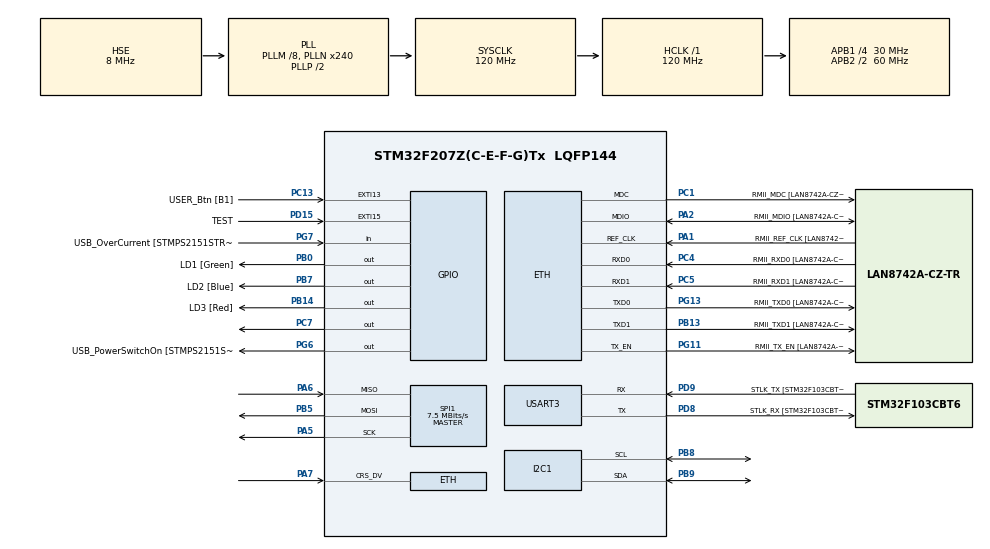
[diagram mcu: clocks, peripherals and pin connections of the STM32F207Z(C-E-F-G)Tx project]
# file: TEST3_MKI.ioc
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Mcu.Family=STM32F2
LWIP.LWIP_MULTICAST_TX_OPTIONS=1
PA6.Mode=Full_Duplex_Master
PH0-OSC_IN.Signal=RCC_OSC_IN
RCC.CortexFreq_Value=120000000
PG6.Signal=GPIO_Output
SPI1.VirtualType=VM_MASTER
LWIP.LWIP_ARP=1
PB14.GPIO_Label=LD3 [Red]
PG6.GPIO_Label=USB_PowerSwitchOn [STMPS2151STR_EN]
PA14.GPIO_Label=TCK
RCC.SYSCLKSourceVirtual=RCC_SYSCLKSOURCE_PLLCLK
PB0.GPIO_Label=LD1 [Green]
PC5.Mode=RMII
PC13.GPIO_Label=USER_Btn [B1]
PB13.GPIO_Label=RMII_TXD1 [LAN8742A-CZ-TR_TXD1]
PB13.Signal=ETH_TXD1
PG13.Signal=ETH_TXD0
PD9.Mode=Asynchronous
PG11.Signal=ETH_TX_EN
RCC.SYSCLKSource=RCC_SYSCLKSOURCE_PLLCLK
ProjectManager.StackSize=0x400
LWIP.NETMASK_ADDRESS=255.255.255.000
PA12.Signal=USB_OTG_FS_DP
SPI1.CLKPolarity=SPI_POLARITY_HIGH
SPI1.Direction=SPI_DIRECTION_2LINES
RCC.HCLKFreq_Value=120000000
RCC.APB2TimFreq_Value=120000000
LWIP.LWIP_IGMP=1
PC7.Signal=GPIO_Output
SPI1.CalculateBaudRate=7.5 MBits/s
PD8.Signal=USART3_TX
RCC.AHBFreq_Value=120000000
PH0-OSC_IN.Mode=HSE-External-Clock-Source
PH0-OSC_IN.GPIO_Label=MCO [STM32F103CBT6_PA8]
NVIC.EXTI15_10_IRQn=true\:0\:0\:false\:false\:true\:true\:true
RCC.HSE_VALUE=8000000
RCC.PLLMUL=RCC_PLL_MUL9
LWIP.LWIP_TCP=0
PC4.GPIO_Label=RMII_RXD0 [LAN8742A-CZ-TR_RXD0]
PB5.Mode=Full_Duplex_Master
PA10.GPIO_Label=USB_ID
PB7.Signal=GPIO_Output
PA8.Signal=USB_OTG_FS_SOF
PG13.Mode=RMII
PH1-OSC_OUT.Mode=HSE-External-Clock-Source
PB7.GPIO_Label=LD2 [Blue]
Mcu.Package=LQFP144
PB9.Signal=I2C1_SDA
PA6.Signal=SPI1_MISO
PA2.GPIO_Label=RMII_MDIO [LAN8742A-CZ-TR_MDIO]
PA10.Signal=USB_OTG_FS_ID
RCC.APB2CLKDivider=RCC_HCLK_DIV2
RCC.APB1TimFreq_Value=60000000
PG11.GPIO_Label=RMII_TX_EN [LAN8742A-CZ-TR_TXEN]
PC5.Signal=ETH_RXD1
PB13.Mode=RMII
SPI1.BaudRatePrescaler=SPI_BAUDRATEPRESCALER_8
PD15.Signal=GPXTI15
PC4.Mode=RMII
LWIP.IP_ADDRESS=192.168.000.002
PA5.Mode=Full_Duplex_Master
PB3.GPIO_Label=SWO
ETH.AutoNegotiation=ETH_AUTONEGOTIATION_DISABLE
RCC.PLLSourceVirtual=RCC_PLLSOURCE_HSE
PD15.GPIO_Label=TEST
PA7.Mode=RMII
PG7.Signal=GPIO_Input
PD9.GPIO_Label=STLK_TX [STM32F103CBT6_PA2]
PC13.Signal=GPXTI13
PA9.GPIO_Label=USB_VBUS
PC4.Signal=ETH_RXD0
PA11.GPIO_Label=USB_DM
PD9.Signal=USART3_RX
SPI1.CLKPhase=SPI_PHASE_2EDGE
LWIP.LWIP_DHCP=0
PD15.GPIO_ModeDefaultEXTI=GPIO_MODE_IT_RISING
RCC.APB1CLKDivider=RCC_HCLK_DIV4
PC14-OSC32_IN.Signal=RCC_OSC32_IN
PG13.GPIO_Label=RMII_TXD0 [LAN8742A-CZ-TR_TXD0]
PA12.GPIO_Label=USB_DP
VP_LWIP_VS_Enabled.Mode=Enabled
LWIP.GATEWAY_ADDRESS=000.000.000.000
LWIP.LWIP_DNS=0
PD8.GPIO_Label=STLK_RX [STM32F103CBT6_PA3]
PA13.Signal=SYS_JTMS-SWDIO
LWIP.CHECKSUM_GEN_UDP=0
PA8.GPIO_Label=USB_SOF [TP1]
ProjectManager.TargetToolchain=STM32CubeIDE
LWIP.LWIP_SNTP=0
PB9.Mode=I2C
PA9.Signal=USB_OTG_FS_VBUS
RCC.USBFreq_Value=48000000
RCC.LSE_VALUE=32768
PC15-OSC32_OUT.Signal=RCC_OSC32_OUT
PD8.Mode=Asynchronous
PA1.Signal=ETH_REF_CLK
PB14.Signal=GPIO_Output
PA5.Signal=SPI1_SCK
board=NUCLEO-F207ZG
RCC.VCOOutputFreq_Value=240000000
RCC.APB2Freq_Value=60000000
PA1.Mode=RMII
RCC.PRESCALERUSB=RCC_USBCLKSOURCE_PLL_DIV1_5
SPI1.Mode=SPI_MODE_MASTER
PG7.GPIO_Label=USB_OverCurrent [STMPS2151STR_FAULT]
PA1.GPIO_Label=RMII_REF_CLK [LAN8742A-CZ-TR_REFCLK0]
PC1.GPIO_Label=RMII_MDC [LAN8742A-CZ-TR_MDC]
PH1-OSC_OUT.Signal=RCC_OSC_OUT
Mcu.Name=STM32F207Z(C-E-F-G)Tx
PA2.Signal=ETH_MDIO
PA13.GPIO_Label=TMS
RCC.48MHZClocksFreq_Value=60000000
PB3.Signal=SYS_JTDO-SWO
RCC.SYSCLKFreq_VALUE=120000000
PB5.Signal=SPI1_MOSI
ETH.MediaInterface=ETH_MEDIA_INTERFACE_RMII
LWIP.LWIP_NETIF_STATUS_CALLBACK=1
PC5.GPIO_Label=RMII_RXD1 [LAN8742A-CZ-TR_RXD1]
USART3.VirtualMode=VM_ASYNC
PG11.Mode=RMII
PA11.Signal=USB_OTG_FS_DM
PA14.Signal=SYS_JTCK-SWCLK
ProjectManager.HeapSize=0x200
LWIP.Version=v2.0.3_Cube
RCC.HSI_VALUE=16000000
NVIC.PriorityGroup=NVIC_PRIORITYGROUP_4
RCC.PLLM=8
PB8.Mode=I2C
RCC.PLLN=240
PA2.Mode=RMII
PB8.Signal=I2C1_SCL
RCC.APB1Freq_Value=30000000
PB0.Signal=GPIO_Output
PC1.Signal=ETH_MDC
PC1.Mode=RMII
PA7.Signal=ETH_CRS_DV

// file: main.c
/* USER CODE BEGIN Header */
/**
  ******************************************************************************
  * @file           : main.c
  * @brief          : Main program body
  ******************************************************************************
  * @attention
  *
  * <h2><center>&copy; Copyright (c) 2021 STMicroelectronics.
  * All rights reserved.</center></h2>
  *
  * This software component is licensed by ST under BSD 3-Clause license,
  * the "License"; You may not use this file except in compliance with the
  * License. You may obtain a copy of the License at:
  *                        opensource.org/licenses/BSD-3-Clause
  *
  ******************************************************************************
  */
/* USER CODE END Header */
#include "main.h"
#include "lwip.h"

/* USER CODE BEGIN Includes */
#include "lwip/opt.h"
#include "lwip/init.h"
#include "lwip/netif.h"
#include "lwip/timeouts.h"
#include "netif/etharp.h"
#include "ethernetif.h"
#include "udp_echoclient.h"
#include "lwip/pbuf.h"
#include "lwip/udp.h"
#include "lwip/tcp.h"
#include <string.h>
#include <stdio.h>
/* USER CODE END Includes */

/* USER CODE BEGIN PD */
#ifdef __GNUC__
/* With GCC Compiler, small printf (option LD Linker->Libraries->Small printf
   set to 'Yes') calls __io_putchar() */
#define PUTCHAR_PROTOTYPE int __io_putchar(int ch)
#else
#define PUTCHAR_PROTOTYPE int fputc(int ch, FILE *f)
#endif /* __GNUC__ */
/* USER CODE END PD */

I2C_HandleTypeDef hi2c1;

SPI_HandleTypeDef hspi1;

UART_HandleTypeDef huart3;

void SystemClock_Config(void);
static void MX_GPIO_Init(void);
static void MX_SPI1_Init(void);
static void MX_USART3_UART_Init(void);
static void MX_I2C1_Init(void);

int main(void)
{

  /* MCU Configuration--------------------------------------------------------*/

  /* Reset of all peripherals, Initializes the Flash interface and the Systick. */
  HAL_Init();

  /* Configure the system clock */
  SystemClock_Config();

  /* Initialize all configured peripherals */
  MX_GPIO_Init();
  MX_SPI1_Init();
  MX_USART3_UART_Init();
  MX_I2C1_Init();
  MX_LWIP_Init();
  /* USER CODE BEGIN 2 */
  TestBegin_I2C();
  udp_echoclient_connect();
  //Set_CS_High();
  HAL_Delay(2000);
  TestId_I2C();
  Ctrl1_I2C(ODR104HZ1G);
  HAL_Delay(1000);
  //IntMode_SPI(INT1_CTRL,DENRDYMODE);
  //IntCFGMode_SPI(COUNTER_BDR_REG1,MOTIONMODE);
  //HAL_Delay(1000);
  printf("------------------------------\r\n");

  /* USER CODE END 2 */

  /* Infinite loop */
  /* USER CODE BEGIN WHILE */
  while (1)
  {

	MX_LWIP_Process();
	udp_echoclient_send();

	HAL_Delay(1000);

    /* USER CODE END WHILE */

  }
}

void SystemClock_Config(void)
{
  RCC_OscInitTypeDef RCC_OscInitStruct = {0};
  RCC_ClkInitTypeDef RCC_ClkInitStruct = {0};

  /** Initializes the RCC Oscillators according to the specified parameters
  * in the RCC_OscInitTypeDef structure.
  */
  RCC_OscInitStruct.OscillatorType = RCC_OSCILLATORTYPE_HSE;
  RCC_OscInitStruct.HSEState = RCC_HSE_BYPASS;
  RCC_OscInitStruct.PLL.PLLState = RCC_PLL_ON;
  RCC_OscInitStruct.PLL.PLLSource = RCC_PLLSOURCE_HSE;
  RCC_OscInitStruct.PLL.PLLM = 8;
  RCC_OscInitStruct.PLL.PLLN = 240;
  RCC_OscInitStruct.PLL.PLLP = RCC_PLLP_DIV2;
  RCC_OscInitStruct.PLL.PLLQ = 4;
  if (HAL_RCC_OscConfig(&RCC_OscInitStruct) != HAL_OK)
  {
    Error_Handler();
  }
  /** Initializes the CPU, AHB and APB buses clocks
  */
  RCC_ClkInitStruct.ClockType = RCC_CLOCKTYPE_HCLK|RCC_CLOCKTYPE_SYSCLK
                              |RCC_CLOCKTYPE_PCLK1|RCC_CLOCKTYPE_PCLK2;
  RCC_ClkInitStruct.SYSCLKSource = RCC_SYSCLKSOURCE_PLLCLK;
  RCC_ClkInitStruct.AHBCLKDivider = RCC_SYSCLK_DIV1;
  RCC_ClkInitStruct.APB1CLKDivider = RCC_HCLK_DIV4;
  RCC_ClkInitStruct.APB2CLKDivider = RCC_HCLK_DIV2;

  if (HAL_RCC_ClockConfig(&RCC_ClkInitStruct, FLASH_LATENCY_3) != HAL_OK)
  {
    Error_Handler();
  }
}

static void MX_I2C1_Init(void)
{

  hi2c1.Instance = I2C1;
  hi2c1.Init.ClockSpeed = 100000;
  hi2c1.Init.DutyCycle = I2C_DUTYCYCLE_2;
  hi2c1.Init.OwnAddress1 = 0;
  hi2c1.Init.AddressingMode = I2C_ADDRESSINGMODE_7BIT;
  hi2c1.Init.DualAddressMode = I2C_DUALADDRESS_DISABLE;
  hi2c1.Init.OwnAddress2 = 0;
  hi2c1.Init.GeneralCallMode = I2C_GENERALCALL_DISABLE;
  hi2c1.Init.NoStretchMode = I2C_NOSTRETCH_DISABLE;
  if (HAL_I2C_Init(&hi2c1) != HAL_OK)
  {
    Error_Handler();
  }

}

static void MX_SPI1_Init(void)
{

  /* SPI1 parameter configuration*/
  hspi1.Instance = SPI1;
  hspi1.Init.Mode = SPI_MODE_MASTER;
  hspi1.Init.Direction = SPI_DIRECTION_2LINES;
  hspi1.Init.DataSize = SPI_DATASIZE_8BIT;
  hspi1.Init.CLKPolarity = SPI_POLARITY_HIGH;
  hspi1.Init.CLKPhase = SPI_PHASE_2EDGE;
  hspi1.Init.NSS = SPI_NSS_SOFT;
  hspi1.Init.BaudRatePrescaler = SPI_BAUDRATEPRESCALER_8;
  hspi1.Init.FirstBit = SPI_FIRSTBIT_MSB;
  hspi1.Init.TIMode = SPI_TIMODE_DISABLE;
  hspi1.Init.CRCCalculation = SPI_CRCCALCULATION_DISABLE;
  hspi1.Init.CRCPolynomial = 10;
  if (HAL_SPI_Init(&hspi1) != HAL_OK)
  {
    Error_Handler();
  }

}

static void MX_USART3_UART_Init(void)
{

  huart3.Instance = USART3;
  huart3.Init.BaudRate = 115200;
  huart3.Init.WordLength = UART_WORDLENGTH_8B;
  huart3.Init.StopBits = UART_STOPBITS_1;
  huart3.Init.Parity = UART_PARITY_NONE;
  huart3.Init.Mode = UART_MODE_TX_RX;
  huart3.Init.HwFlowCtl = UART_HWCONTROL_NONE;
  huart3.Init.OverSampling = UART_OVERSAMPLING_16;
  if (HAL_UART_Init(&huart3) != HAL_OK)
  {
    Error_Handler();
  }

}

static void MX_GPIO_Init(void)
{
  GPIO_InitTypeDef GPIO_InitStruct = {0};

  /* GPIO Ports Clock Enable */
  __HAL_RCC_GPIOC_CLK_ENABLE();
  __HAL_RCC_GPIOH_CLK_ENABLE();
  __HAL_RCC_GPIOA_CLK_ENABLE();
  __HAL_RCC_GPIOB_CLK_ENABLE();
  __HAL_RCC_GPIOD_CLK_ENABLE();
  __HAL_RCC_GPIOG_CLK_ENABLE();

  /*Configure GPIO pin Output Level */
  HAL_GPIO_WritePin(GPIOB, LD1_Pin|LD3_Pin|LD2_Pin, GPIO_PIN_RESET);

  /*Configure GPIO pin Output Level */
  HAL_GPIO_WritePin(USB_PowerSwitchOn_GPIO_Port, USB_PowerSwitchOn_Pin, GPIO_PIN_RESET);

  /*Configure GPIO pin Output Level */
  HAL_GPIO_WritePin(GPIOC, GPIO_PIN_7, GPIO_PIN_RESET);

  /*Configure GPIO pin : USER_Btn_Pin */
  GPIO_InitStruct.Pin = USER_Btn_Pin;
  GPIO_InitStruct.Mode = GPIO_MODE_IT_RISING;
  GPIO_InitStruct.Pull = GPIO_NOPULL;
  HAL_GPIO_Init(USER_Btn_GPIO_Port, &GPIO_InitStruct);

  /*Configure GPIO pins : LD1_Pin LD3_Pin LD2_Pin */
  GPIO_InitStruct.Pin = LD1_Pin|LD3_Pin|LD2_Pin;
  GPIO_InitStruct.Mode = GPIO_MODE_OUTPUT_PP;
  GPIO_InitStruct.Pull = GPIO_NOPULL;
  GPIO_InitStruct.Speed = GPIO_SPEED_FREQ_LOW;
  HAL_GPIO_Init(GPIOB, &GPIO_InitStruct);

  /*Configure GPIO pin : TEST_Pin */
  GPIO_InitStruct.Pin = TEST_Pin;
  GPIO_InitStruct.Mode = GPIO_MODE_IT_RISING;
  GPIO_InitStruct.Pull = GPIO_NOPULL;
  HAL_GPIO_Init(TEST_GPIO_Port, &GPIO_InitStruct);

  /*Configure GPIO pin : USB_PowerSwitchOn_Pin */
  GPIO_InitStruct.Pin = USB_PowerSwitchOn_Pin;
  GPIO_InitStruct.Mode = GPIO_MODE_OUTPUT_PP;
  GPIO_InitStruct.Pull = GPIO_NOPULL;
  GPIO_InitStruct.Speed = GPIO_SPEED_FREQ_LOW;
  HAL_GPIO_Init(USB_PowerSwitchOn_GPIO_Port, &GPIO_InitStruct);

  /*Configure GPIO pin : USB_OverCurrent_Pin */
  GPIO_InitStruct.Pin = USB_OverCurrent_Pin;
  GPIO_InitStruct.Mode = GPIO_MODE_INPUT;
  GPIO_InitStruct.Pull = GPIO_NOPULL;
  HAL_GPIO_Init(USB_OverCurrent_GPIO_Port, &GPIO_InitStruct);

  /*Configure GPIO pin : PC7 */
  GPIO_InitStruct.Pin = GPIO_PIN_7;
  GPIO_InitStruct.Mode = GPIO_MODE_OUTPUT_PP;
  GPIO_InitStruct.Pull = GPIO_NOPULL;
  GPIO_InitStruct.Speed = GPIO_SPEED_FREQ_LOW;
  HAL_GPIO_Init(GPIOC, &GPIO_InitStruct);

  /*Configure GPIO pins : USB_SOF_Pin USB_ID_Pin USB_DM_Pin USB_DP_Pin */
  GPIO_InitStruct.Pin = USB_SOF_Pin|USB_ID_Pin|USB_DM_Pin|USB_DP_Pin;
  GPIO_InitStruct.Mode = GPIO_MODE_AF_PP;
  GPIO_InitStruct.Pull = GPIO_NOPULL;
  GPIO_InitStruct.Speed = GPIO_SPEED_FREQ_VERY_HIGH;
  GPIO_InitStruct.Alternate = GPIO_AF10_OTG_FS;
  HAL_GPIO_Init(GPIOA, &GPIO_InitStruct);

  /*Configure GPIO pin : USB_VBUS_Pin */
  GPIO_InitStruct.Pin = USB_VBUS_Pin;
  GPIO_InitStruct.Mode = GPIO_MODE_INPUT;
  GPIO_InitStruct.Pull = GPIO_NOPULL;
  HAL_GPIO_Init(USB_VBUS_GPIO_Port, &GPIO_InitStruct);

  /* EXTI interrupt init*/
  HAL_NVIC_SetPriority(EXTI15_10_IRQn, 0, 0);
  HAL_NVIC_EnableIRQ(EXTI15_10_IRQn);

}

/* USER CODE BEGIN 4 */

/*void HAL_GPIO_EXTI_Callback(uint16_t GPIO_Pin){

	if(GPIO_Pin == TEST_Pin){
		int* T;
		Measure_SPI(S1,T);
	 	  printf("%d \r\n",T[0]);
		 printf("%d \r\n",T[1]);  //This print is to test whether our values are well stacked in our T
		sprintf((char*)data, "%d %d", T[0],T[1]);
		printf("%s \r\n",data);

	}
}*/

PUTCHAR_PROTOTYPE
{
  /* Place your implementation of fputc here */
  /* e.g. write a character to the USART3 and Loop until the end of transmission */
  HAL_UART_Transmit(&huart3, (uint8_t *)&ch, 1, 0xFFFF);

  return ch;
}
/* USER CODE END 4 */

void Error_Handler(void)
{
  __disable_irq();
  while (1)
  {
  }
}

/************************ (C) COPYRIGHT STMicroelectronics *****END OF FILE****/
